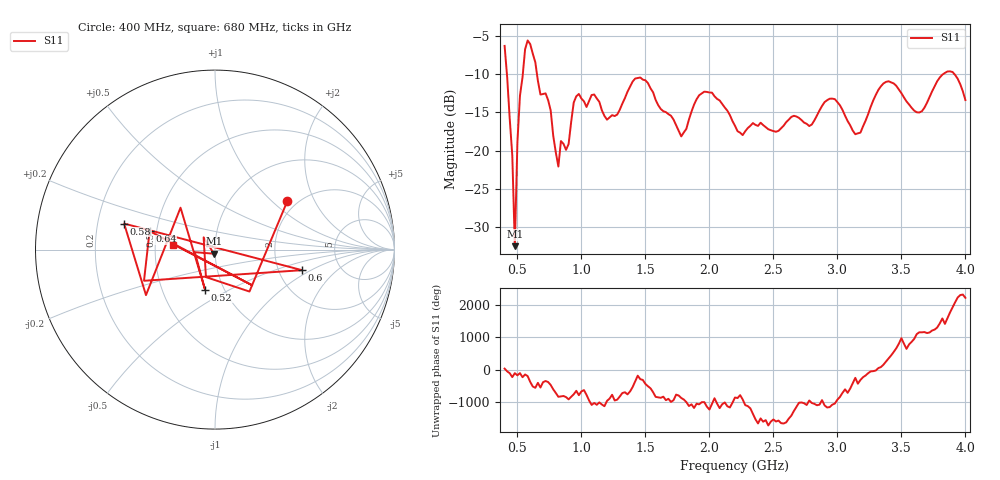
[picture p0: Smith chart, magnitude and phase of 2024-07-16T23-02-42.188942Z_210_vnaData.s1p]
!Created with skrf (http://scikit-rf.org).
# Hz S RI R 50.0
!freq ReS11 ImS11
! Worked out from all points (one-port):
!   181 points, 400 MHz to 4 GHz, reference 50 ohm
!   lowest |S11| = -32.5 dB at 480 MHz (marker M1), VSWR 1.05, Z = 49.3 - j2.25 ohm
!   |S11| at or under -10 dB: 418.1 MHz to 542.1 MHz (124 MHz wide, 25.8 % of centre); 653 MHz to 3.825 GHz (3.172 GHz wide, 142 % of centre); 3.915 GHz to end of sweep
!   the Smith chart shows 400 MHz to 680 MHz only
!   S11 on the Smith chart (normalised r, x): 400 MHz: 1.78, +1.26; 520 MHz: 0.81, -0.38; 580 MHz: 0.32, +0.13; 600 MHz: 2.70, -0.82; 640 MHz: 0.46, +0.11; 680 MHz: 0.62, +0.04
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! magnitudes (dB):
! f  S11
! 400 MHz  -6.3
! 460 MHz  -20.6
! 480 MHz  -32.5
! 500 MHz  -18.9
! 520 MHz  -12.8
! 580 MHz  -5.6
! 600 MHz  -6.0
! 640 MHz  -8.4
! 680 MHz  -12.7
! 740 MHz  -13.4
! 820 MHz  -22.1
! 860 MHz  -19.1
! 980 MHz  -12.6
! 1.3 GHz  -14.6
! 1.46 GHz  -10.4
! 1.76 GHz  -17.4
! 1.96 GHz  -12.3
! 2.2 GHz  -16.8
! 2.66 GHz  -15.4
! 2.78 GHz  -16.8
! 2.96 GHz  -13.2
! 3.1 GHz  -16.7
! 3.18 GHz  -17.7
! 3.38 GHz  -11.0
! 3.56 GHz  -14.0
! 3.66 GHz  -14.8
! 3.86 GHz  -9.6
! 4 GHz  -13.4
